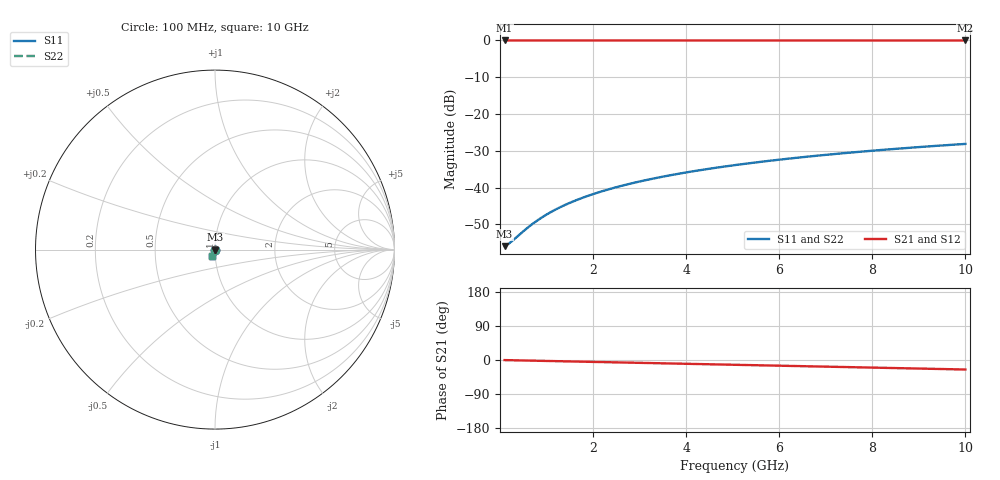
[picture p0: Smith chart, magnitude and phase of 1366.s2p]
# Hz S RI R 50.00
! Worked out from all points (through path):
!   100 points, 100 MHz to 10 GHz, reference 50 ohm
!   highest |S21| = -0.01 dB at 100 MHz (marker M1); lowest = 0.0 dB at 10 GHz (marker M2)
!   group delay of S21, straight-line fit = 6.97 ps
!   lowest |S11| = -55.9 dB at 100 MHz (marker M3), VSWR 1.00, Z = 50.2 - j0.0407 ohm
!   |S11| at or under -10 dB: start of sweep to end of sweep
!   |S22| runs from -55.9 to -28.1 dB; largest |S21 - S12| = 0
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1e8  0.00154 -0.000406  0.9984 -0.00435  0.9984 -0.00435  0.00154 -0.000406
2e8  0.00155 -0.000812  0.9984 -0.00871  0.9984 -0.00871  0.00155 -0.000812
3e8  0.00154 -0.00122  0.9983 -0.0131  0.9983 -0.0131  0.00154 -0.00122
5e8  0.00152 -0.00203  0.9982 -0.0218  0.9982 -0.0218  0.00152 -0.00203
7e8  0.00149 -0.00284  0.9979 -0.0305  0.9979 -0.0305  0.00149 -0.00284
8e8  0.00146 -0.00325  0.9978 -0.0348  0.9978 -0.0348  0.00146 -0.00325
1e9  0.0014 -0.00406  0.9974 -0.0435  0.9974 -0.0435  0.0014 -0.00406
1.2e9  0.00133 -0.00487  0.997 -0.0522  0.997 -0.0522  0.00133 -0.00487
1.4e9  0.00124 -0.00568  0.9965 -0.0609  0.9965 -0.0609  0.00124 -0.00568
1.6e9  0.00113 -0.00648  0.9959 -0.0696  0.9959 -0.0696  0.00113 -0.00648
1.8e9  0.00101 -0.00729  0.9952 -0.0783  0.9952 -0.0783  0.00101 -0.00729
2.1e9  0.000807 -0.0085  0.9941 -0.0913  0.9941 -0.0913  0.000807 -0.0085
2.5e9  0.000484 -0.0101  0.9923 -0.1087  0.9923 -0.1087  0.000484 -0.0101
2.9e9  0.000105 -0.0117  0.9902 -0.126  0.9902 -0.126  0.000105 -0.0117
3.4e9  -0.000448 -0.0137  0.9872 -0.1476  0.9872 -0.1476  -0.000448 -0.0137
4.2e9  -0.00151 -0.0168  0.9813 -0.182  0.9813 -0.182  -0.00151 -0.0168
5.1e9  -0.00296 -0.0202  0.9733 -0.2205  0.9733 -0.2205  -0.00296 -0.0202
5.9e9  -0.00448 -0.0231  0.9649 -0.2545  0.9649 -0.2545  -0.00448 -0.0231
6.7e9  -0.0062 -0.0259  0.9553 -0.2881  0.9553 -0.2881  -0.0062 -0.0259
7.5e9  -0.00811 -0.0286  0.9444 -0.3215  0.9444 -0.3215  -0.00811 -0.0286
8.4e9  -0.0105 -0.0315  0.9308 -0.3585  0.9308 -0.3585  -0.0105 -0.0315
1e10  -0.0152 -0.0361  0.903 -0.423  0.903 -0.423  -0.0152 -0.0361
